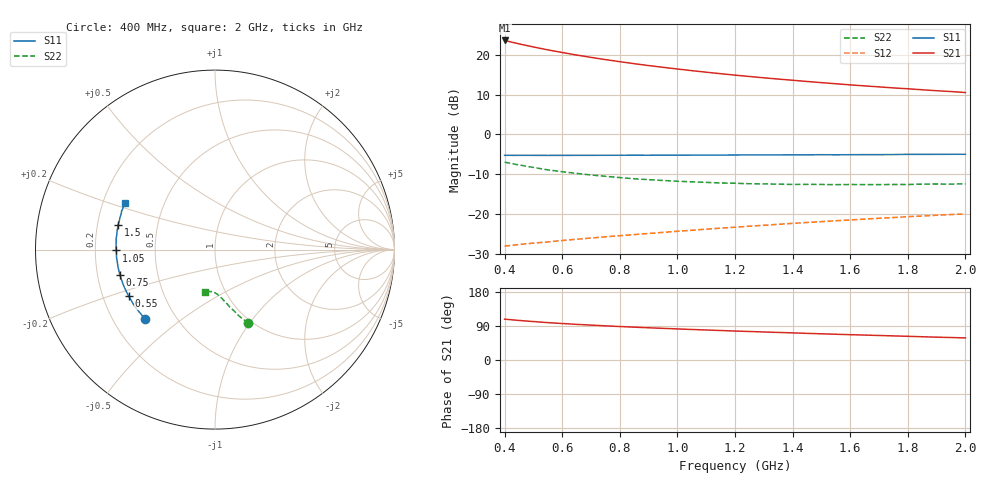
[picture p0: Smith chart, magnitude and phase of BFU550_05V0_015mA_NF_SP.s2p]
! Filename:  P:\Prog\Test\Noise\ATS_data\Testdata_Net\06 Compressed Noise after Statistics\BFU550_APG2013_43_D05_05p0V_015mA_NF_CM01_D.sf
! Date/Time: Fri 26/Apr/2013 13:07:22
! BFU550_APG2013_43_D05_05p0V_1to35mA_NF_CM01_Bias6_R.sf
! Noise Parameter Data File
! BFU550_APG2013_43_D05_05p0V_1to35mA_NF_CM01
! Date/time: Thu Apr 25 16:23:08 2013
! VAR V_out= 5.000000
! VAR I_out= 14.995000
! VAR V_in= 0.830200
! VAR I_in= 0.164600
! Device data file deembeded for feedlines and parallel
! Original file: \06 Compressed Noise after Statistics\BFU550_APG2013_43_D05_05p0V_015mA_NF_CM01_R.sf
! Feed-files: PR047V01_250413_Feed1.s2p, PR047V01_250413_Feed2.s2p
! Parallel-file: PR047V01_250413_Par.s2p
# MHz S MA R 50
!  Freq-MHz  S11-mag  S11-arg  S21-mag  S21-arg  S12-mag  S12-arg  S22-mag  S22-arg
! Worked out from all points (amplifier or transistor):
!   37 points, 400 MHz to 2 GHz, reference 50 ohm
!   highest |S21| = 23.6 dB at 400 MHz (marker M1)
!   |S21| within 3 dB of that: start of sweep to 598.7 MHz
!   unconditionally stable (mu >= 1): 1.5 GHz to end of sweep
!   at 500 MHz: K = 0.61, MSG = 24.6 dB, |S12| = -27.3 dB
!   at 1.1 GHz: K = 0.92, MSG = 19.7 dB, |S12| = -23.8 dB
!   at 2 GHz: K = 1.05, MAG = 13.8 dB, |S12| = -19.9 dB
!   lowest NFmin = 0.85 dB at 480 MHz
!   S11 on the Smith chart (normalised r, x): 400 MHz: 0.34, -0.37; 550 MHz: 0.31, -0.23; 750 MHz: 0.30, -0.12; 1.05 GHz: 0.29, -0.00; 1.5 GHz: 0.29, +0.12; 2 GHz: 0.29, +0.22
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400  0.5479 -135.3  15.1 107.8  0.03973 47.8  0.4491 -65.5
433  0.5467 -139.5  14.13 105.5  0.04101 47.6  0.4255 -67.4
460  0.5471 -142.6  13.44 103.8  0.04202 47.4  0.4092 -68.8
480  0.5476 -144.8  12.96 102.6  0.04272 47.4  0.3966 -69.8
500  0.547 -146.8  12.51 101.5  0.04339 47.4  0.3859 -70.7
550  0.5461 -151.6  11.51 98.6  0.04492 47.7  0.3597 -72.5
600  0.5465 -155.5  10.67 96.3  0.0468 48.0  0.3412 -74.4
650  0.5473 -159.2  9.91 94.0  0.04854 48.3  0.3249 -76.1
700  0.5473 -162.1  9.256 92.1  0.05024 48.8  0.3104 -77.4
750  0.5485 -165.3  8.684 90.1  0.05204 49.1  0.2988 -78.9
800  0.5485 -168.0  8.177 88.3  0.05377 49.6  0.288 -80.2
850  0.549 -170.5  7.721 86.7  0.05549 50.1  0.278 -81.3
900  0.5487 -173.1  7.309 85.0  0.05731 50.5  0.2713 -82.5
950  0.5505 -175.1  6.951 83.5  0.05919 51.0  0.2647 -83.7
1050  0.5506 -179.5  6.312 80.5  0.06294 51.7  0.2549 -85.8
1150  0.5517 176.9  5.781 77.8  0.0668 52.3  0.2467 -87.6
1200  0.5526 175.0  5.546 76.5  0.06867 52.5  0.2443 -88.7
1350  0.5543 170.2  4.951 72.8  0.07466 53.2  0.2383 -91.4
1500  0.5575 165.6  4.467 69.1  0.08075 53.5  0.2361 -94.2
1600  0.5575 162.6  4.184 66.8  0.08467 53.6  0.2357 -95.9
1750  0.56 158.6  3.835 63.6  0.0908 53.7  0.236 -98.7
2000  0.5643 152.7  3.358 58.3  0.1008 53.5  0.2405 -103.0
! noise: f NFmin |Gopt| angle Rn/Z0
400  0.9013  0.2051  174.2  0.0738
460  0.8621  0.2409  -180  0.0648
600  0.895  0.2341  179  0.0657
800  0.9259  0.2568  -175.2  0.0649
1000  0.9562  0.277  -172.8  0.0625
1200  0.9945  0.2822  -169.9  0.066
1400  1.019  0.2899  -167.1  0.0691
1600  1.058  0.3192  -165  0.0671
1800  1.074  0.3358  -164.2  0.065
2000  1.145  0.3564  -159.6  0.0705
